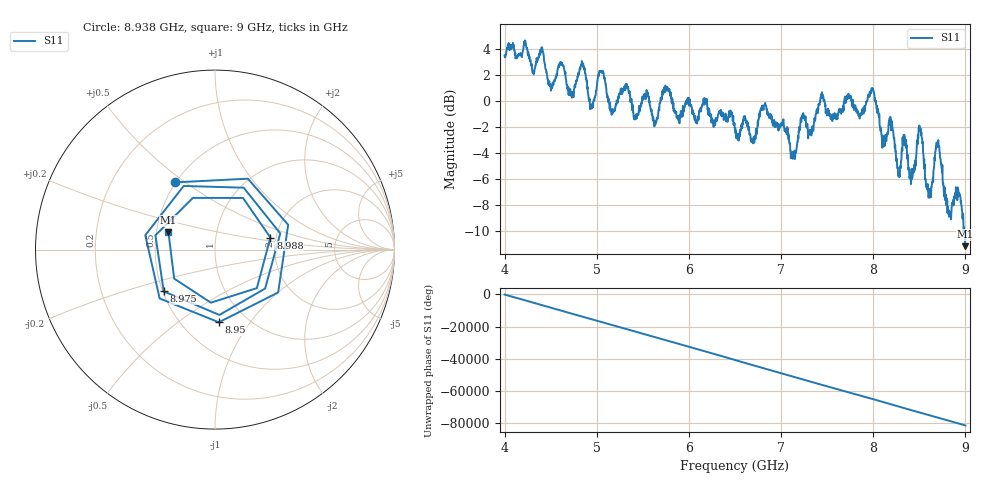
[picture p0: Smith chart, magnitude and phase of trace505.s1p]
! Created with skrf 1.8.0 (http://scikit-rf.org).
# Hz S RI R 50.0
!freq ReS11 ImS11
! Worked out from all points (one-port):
!   1601 points, 4 GHz to 9 GHz, reference 50 ohm
!   lowest |S11| = -11.1 dB at 9 GHz (marker M1), VSWR 1.77, Z = 28.9 + j6.07 ohm
!   |S11| at or under -10 dB: 8.980666 GHz to 8.98165 GHz (983.8 kHz wide, 0.011 % of centre); 8.98785 GHz to 8.989075 GHz (1.225 MHz wide, 0.0136 % of centre); 8.991109 GHz to end of sweep
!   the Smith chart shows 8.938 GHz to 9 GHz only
!   S11 on the Smith chart (normalised r, x): 8.938 GHz: 0.50, +0.46; 8.95 GHz: 0.74, -0.72; 8.975 GHz: 0.51, -0.27; 8.988 GHz: 1.87, +0.28; 9 GHz: 0.58, +0.12
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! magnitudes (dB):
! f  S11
! 4 GHz  3.5
! 4.625 GHz  2.8
! 4.725 GHz  0.7
! 4.85 GHz  2.8
! 4.938 GHz  -0.5
! 5.047 GHz  2.3
! 5.162 GHz  -1.1
! 5.25 GHz  0.5
! 5.875 GHz  -1.3
! 6.5 GHz  -2.2
! 6.697 GHz  -3.1
! 6.819 GHz  -0.3
! 7.125 GHz  -3.9
! 7.434 GHz  0.5
! 7.75 GHz  0.2
! 7.988 GHz  0.9
! 8.103 GHz  -2.7
! 8.375 GHz  -4.3
! 8.428 GHz  -5.7
! 8.509 GHz  -2.3
! 8.6 GHz  -7.4
! 8.697 GHz  -3.3
! 8.819 GHz  -8.4
! 8.938 GHz  -7.2
! 8.95 GHz  -7.8
! 8.975 GHz  -8.7
! 8.988 GHz  -10.0
! 9 GHz  -11.1
